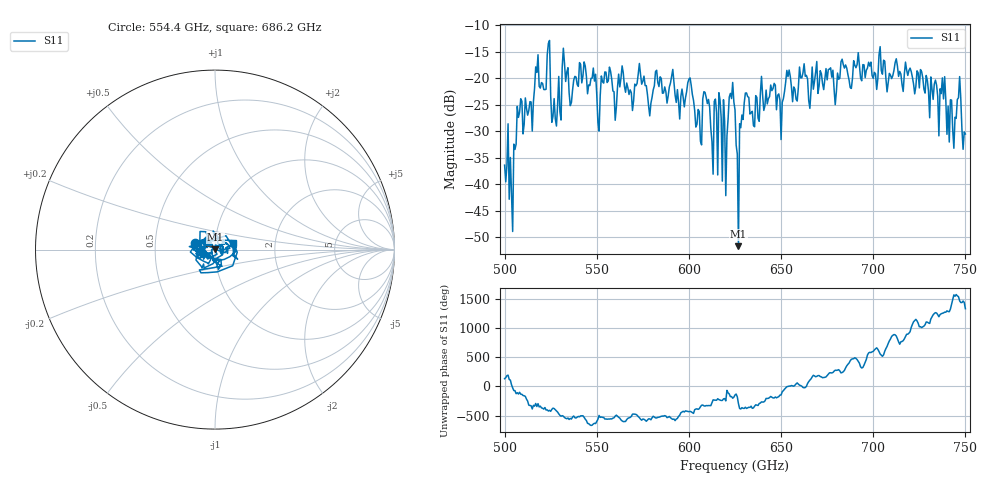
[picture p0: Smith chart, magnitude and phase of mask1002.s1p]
!Created with skrf (http://scikit-rf.org).
# GHz S MA R 50.0
!freq magS11 angS11
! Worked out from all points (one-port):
!   401 points, 500 GHz to 750 GHz, reference 50 ohm
!   lowest |S11| = -51.7 dB at 626.9 GHz (marker M1), VSWR 1.01, Z = 50.1 + j0.237 ohm
!   |S11| at or under -10 dB: start of sweep to end of sweep
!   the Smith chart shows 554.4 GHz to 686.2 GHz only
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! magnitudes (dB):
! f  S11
! 500 GHz  -36.4
! 503.8 GHz  -42.0
! 508.1 GHz  -26.4
! 513.8 GHz  -24.4
! 517.5 GHz  -18.9
! 523.8 GHz  -13.4
! 526.9 GHz  -23.8
! 531.2 GHz  -17.9
! 548.1 GHz  -18.1
! 551.2 GHz  -30.0
! 562.5 GHz  -21.6
! 593.8 GHz  -22.2
! 600.6 GHz  -19.9
! 605.6 GHz  -26.3
! 609.4 GHz  -23.6
! 619.4 GHz  -28.2
! 623.1 GHz  -23.8
! 625 GHz  -26.0
! 626.9 GHz  -51.7
! 631.2 GHz  -22.8
! 634.4 GHz  -26.2
! 656.2 GHz  -24.4
! 687.5 GHz  -21.8
! 718.8 GHz  -19.5
! 737.5 GHz  -19.9
! 742.5 GHz  -24.1
! 746.2 GHz  -23.7
! 750 GHz  -30.5
